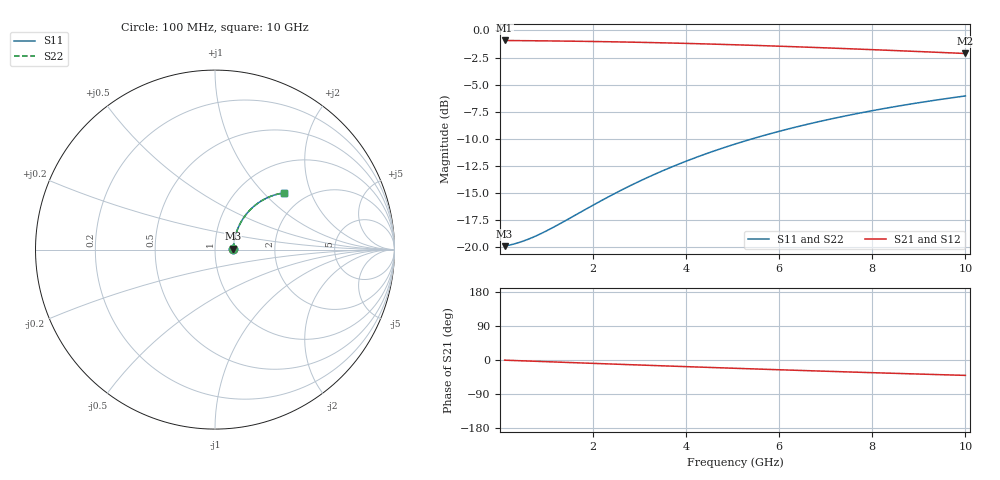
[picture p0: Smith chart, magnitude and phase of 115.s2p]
# Hz S RI R 50.00
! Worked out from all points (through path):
!   100 points, 100 MHz to 10 GHz, reference 50 ohm
!   highest |S21| = -0.92 dB at 100 MHz (marker M1); lowest = -2.1 dB at 10 GHz (marker M2)
!   group delay of S21, straight-line fit = 11.3 ps
!   lowest |S11| = -19.9 dB at 100 MHz (marker M3), VSWR 1.22, Z = 61.2 + j0.632 ohm
!   |S11| at or under -10 dB: start of sweep to 5.428 GHz
!   |S22| runs from -19.9 to -6.0 dB; largest |S21 - S12| = 0
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1e8  0.1007 0.00511  0.8993 -0.00701  0.8993 -0.00701  0.1007 0.00511
4e8  0.1027 0.0204  0.8972 -0.028  0.8972 -0.028  0.1027 0.0204
6e8  0.1041 0.0305  0.8958 -0.0419  0.8958 -0.0419  0.1041 0.0305
8e8  0.1056 0.0405  0.8942 -0.0557  0.8942 -0.0557  0.1056 0.0405
1e9  0.1074 0.0505  0.8924 -0.0695  0.8924 -0.0695  0.1074 0.0505
1.2e9  0.1095 0.0604  0.8902 -0.0832  0.8902 -0.0832  0.1095 0.0604
1.8e9  0.1173 0.0896  0.8821 -0.1238  0.8821 -0.1238  0.1173 0.0896
2.2e9  0.1238 0.1085  0.8752 -0.1504  0.8752 -0.1504  0.1238 0.1085
2.6e9  0.1314 0.1269  0.8673 -0.1764  0.8673 -0.1764  0.1314 0.1269
3e9  0.1401 0.1446  0.8582 -0.2017  0.8582 -0.2017  0.1401 0.1446
3.4e9  0.1496 0.1617  0.8481 -0.2264  0.8481 -0.2264  0.1496 0.1617
3.8e9  0.1601 0.178  0.8371 -0.2504  0.8371 -0.2504  0.1601 0.178
4.2e9  0.1715 0.1935  0.8251 -0.2736  0.8251 -0.2736  0.1715 0.1935
4.6e9  0.1836 0.2082  0.8123 -0.296  0.8123 -0.296  0.1836 0.2082
5.1e9  0.1997 0.2253  0.7953 -0.3227  0.7953 -0.3227  0.1997 0.2253
5.5e9  0.2132 0.238  0.7809 -0.3431  0.7809 -0.3431  0.2132 0.238
5.9e9  0.2273 0.2497  0.7659 -0.3625  0.7659 -0.3625  0.2273 0.2497
6.7e9  0.2568 0.2703  0.7345 -0.3986  0.7345 -0.3986  0.2568 0.2703
7.5e9  0.2874 0.287  0.7016 -0.4309  0.7016 -0.4309  0.2874 0.287
8.4e9  0.3227 0.3014  0.6635 -0.463  0.6635 -0.463  0.3227 0.3014
9.2e9  0.3542 0.3104  0.6291 -0.4877  0.6291 -0.4877  0.3542 0.3104
1e10  0.3855 0.316  0.5946 -0.5092  0.5946 -0.5092  0.3855 0.316
